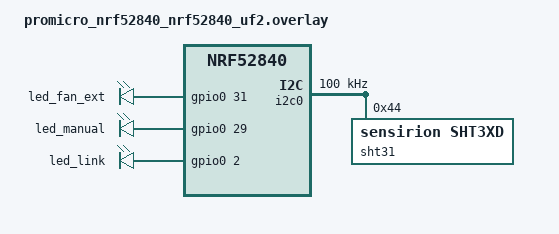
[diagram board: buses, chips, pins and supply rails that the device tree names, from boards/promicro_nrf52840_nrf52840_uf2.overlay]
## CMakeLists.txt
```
# SmartVent sensor node (nice!nano / nRF52840, nRF Connect SDK / Zephyr)
cmake_minimum_required(VERSION 3.20.0)

find_package(Zephyr REQUIRED HINTS $ENV{ZEPHYR_BASE})
project(smartvent_node)

target_sources(app PRIVATE
    src/main.c
    src/sensors.c
    src/control.c
    src/ble_service.c
    src/dfu_reboot.c
)
```

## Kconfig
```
menu "SmartVent node"

config APP_SIMULATED_SENSORS
	bool "Generate simulated sensor readings"
	default n
	help
	  Produce synthetic temperature / humidity / air-quality values instead of
	  reading the SHT31. Useful for bringing up BLE + cloud before
	  the sensors are wired.

config APP_SAMPLE_PERIOD_MS
	int "Sensor sampling / telemetry period (ms)"
	default 5000

config APP_DEFAULT_TEMP_ON_CENTI
	int "Default fan-on temperature threshold (0.01 degC)"
	default 2700

config APP_DEFAULT_HUM_ON_CENTI
	int "Default fan-on humidity threshold (0.01 %RH)"
	default 6000

config APP_DEFAULT_AQ_ON
	int "Default fan-on air-quality threshold (ADC millivolts from MQ-135)"
	default 1500

endmenu

source "Kconfig.zephyr"
```

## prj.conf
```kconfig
# --- Logging / console ---
CONFIG_LOG=y
CONFIG_PRINTK=y

# --- Hardware ---
CONFIG_GPIO=y
CONFIG_HWINFO=y
CONFIG_I2C=y
CONFIG_SENSOR=y
CONFIG_SHT3XD=y
CONFIG_REBOOT=y

# --- Bluetooth LE peripheral ---
CONFIG_BT=y
CONFIG_BT_PERIPHERAL=y
CONFIG_BT_DEVICE_NAME="SmartVent"
CONFIG_BT_DEVICE_NAME_DYNAMIC=y
CONFIG_BT_MAX_CONN=1
CONFIG_BT_GATT_DYNAMIC_DB=n

# Uncomment to bring up the pipeline without sensors wired:
# CONFIG_APP_SIMULATED_SENSORS=y
```

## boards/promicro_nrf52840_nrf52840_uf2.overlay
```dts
/*
 * Wiring for the nice!nano (Zephyr target promicro_nrf52840/nrf52840/uf2).
 * Pins are named by the P-numbers printed on the board.
 *
 *   SHT31 (temp + humidity), I2C0, address 0x44:
 *     SDA = 006 (P0.06)    SCL = 008 (P0.08)
 *     VIN = VCC (3.3 V)    GND = GND
 *
 *   External LEDs (anode -> resistor -> pin, cathode -> GND):
 *     031 (P0.31) fan = green    029 (P0.29) manual mode = yellow
 *     002 (P0.02) BLE link = red
 *
 * The on-board LED (led0, P0.15) also shows the fan state.
 * There is no gas sensor, so air quality is not measured.
 */

&pinctrl {
	i2c0_default: i2c0_default {
		group1 {
			psels = <NRF_PSEL(TWIM_SDA, 0, 6)>,
				<NRF_PSEL(TWIM_SCL, 0, 8)>;
			/* the breakout may lack pull-ups; use the chip's internal ones */
			bias-pull-up;
		};
	};

	i2c0_sleep: i2c0_sleep {
		group1 {
			psels = <NRF_PSEL(TWIM_SDA, 0, 6)>,
				<NRF_PSEL(TWIM_SCL, 0, 8)>;
			low-power-enable;
		};
	};
};

&i2c0 {
	status = "okay";
	clock-frequency = <I2C_BITRATE_STANDARD>;

	sht31: sht3xd@44 {
		compatible = "sensirion,sht3xd";
		reg = <0x44>;
	};
};

/ {
	ext_leds {
		compatible = "gpio-leds";

		led_fan_ext: led_fan_ext {
			gpios = <&gpio0 31 GPIO_ACTIVE_HIGH>;
		};
		led_manual: led_manual {
			gpios = <&gpio0 29 GPIO_ACTIVE_HIGH>;
		};
		led_link: led_link {
			gpios = <&gpio0 2 GPIO_ACTIVE_HIGH>;
		};
	};

	aliases {
		led1 = &led_manual;
		led2 = &led_link;
		fan-ext = &led_fan_ext;
	};
};
```

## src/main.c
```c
/*
 * SmartVent sensor node - main loop.
 *
 * Every CONFIG_APP_SAMPLE_PERIOD_MS the node reads its sensors, runs the
 * automatic ventilation rule, drives the LEDs and notifies the gateway with a
 * telemetry packet. When a command arrives over BLE the loop is woken early so
 * the gateway (and therefore the dashboard) sees the new reported state within
 * a second instead of waiting for the next period.
 *
 * LEDs: led0 (onboard) and the external fan LED show the fan output (stand-in
 * for a fan relay / motor driver). led1 (yellow) is ON in MANUAL mode and led2
 * (red) is ON while the gateway is connected. The external LEDs are wired in
 * the board overlay.
 */
#include <stdio.h>
#include <stdlib.h>
#include <zephyr/kernel.h>
#include <zephyr/drivers/gpio.h>
#include <zephyr/drivers/hwinfo.h>
#include <zephyr/sys/byteorder.h>
#include <zephyr/sys/reboot.h>
#include <zephyr/logging/log.h>

#include "ble_service.h"
#include "control.h"
#include "protocol.h"
#include "sensors.h"

LOG_MODULE_REGISTER(main, LOG_LEVEL_INF);

#define SENSOR_FAIL_REBOOT_COUNT 6

static const struct gpio_dt_spec led_fan = GPIO_DT_SPEC_GET(DT_ALIAS(led0), gpios);
#if DT_NODE_EXISTS(DT_ALIAS(fan_ext))
static const struct gpio_dt_spec led_fan_ext = GPIO_DT_SPEC_GET(DT_ALIAS(fan_ext), gpios);
#endif
#if DT_NODE_EXISTS(DT_ALIAS(led1))
static const struct gpio_dt_spec led_manual = GPIO_DT_SPEC_GET(DT_ALIAS(led1), gpios);
#endif
#if DT_NODE_EXISTS(DT_ALIAS(led2))
static const struct gpio_dt_spec led_link = GPIO_DT_SPEC_GET(DT_ALIAS(led2), gpios);
#endif

/* Given by the BLE command handler to cut the sleep short. */
static K_SEM_DEFINE(wake_sem, 0, 1);

static void on_command(void)
{
	k_sem_give(&wake_sem);
}

/* Build a unique device id from the chip's factory-programmed DEVICEID. */
static void make_device_id(char *buf, size_t len)
{
	uint8_t hw[8] = {0};
	ssize_t n = hwinfo_get_device_id(hw, sizeof(hw));

	if (n < 4) {
		snprintf(buf, len, "vent-unknown");
		return;
	}
	snprintf(buf, len, "vent-%02x%02x%02x%02x", hw[0], hw[1], hw[2], hw[3]);
}

static void pack_telemetry(uint8_t *pkt, const struct sensor_reading *r,
			   const struct control_state *s, uint32_t seq)
{
	pkt[0] = SV_PROTO_VERSION;
	pkt[1] = (uint8_t)s->mode;
	pkt[2] = s->fan_on ? 1 : 0;
	pkt[3] = (r->th_ok ? SV_FLAG_TH_OK : 0) | (r->aq_ok ? SV_FLAG_AQ_OK : 0);
	sys_put_le16((uint16_t)r->temp_centi, &pkt[4]);
	sys_put_le16(r->hum_centi, &pkt[6]);
	sys_put_le16(r->aq_mv, &pkt[8]);
	sys_put_le16((uint16_t)s->temp_on_centi, &pkt[10]);
	sys_put_le16(s->hum_on_centi, &pkt[12]);
	sys_put_le16(s->aq_on_mv, &pkt[14]);
	sys_put_le32(seq, &pkt[16]);
}

static void leds_init(void)
{
	gpio_pin_configure_dt(&led_fan, GPIO_OUTPUT_INACTIVE);
#if DT_NODE_EXISTS(DT_ALIAS(fan_ext))
	gpio_pin_configure_dt(&led_fan_ext, GPIO_OUTPUT_INACTIVE);
#endif
#if DT_NODE_EXISTS(DT_ALIAS(led1))
	gpio_pin_configure_dt(&led_manual, GPIO_OUTPUT_INACTIVE);
#endif
#if DT_NODE_EXISTS(DT_ALIAS(led2))
	gpio_pin_configure_dt(&led_link, GPIO_OUTPUT_INACTIVE);
#endif
}

int main(void)
{
	static char device_id[24];
	struct sensor_reading reading = {0};
	struct control_state st;
	uint8_t pkt[SV_TELEMETRY_LEN];
	uint32_t seq = 0;
	int read_failures = 0;

	make_device_id(device_id, sizeof(device_id));
	LOG_INF("SmartVent node starting, device id: %s", device_id);

	leds_init();
	sensors_init();
	control_init();
	if (ble_service_init(device_id, on_command) != 0) {
		return 0;
	}

	bool woke_by_command = false;

	while (1) {
		/* Only resample on the periodic tick; a command wake-up just reports
		 * the new state using the last reading. */
		if (!woke_by_command) {
			sensors_read(&reading);
		}
		control_update(&reading);
		control_get(&st);

		gpio_pin_set_dt(&led_fan, st.fan_on);
#if DT_NODE_EXISTS(DT_ALIAS(fan_ext))
		gpio_pin_set_dt(&led_fan_ext, st.fan_on);
#endif
#if DT_NODE_EXISTS(DT_ALIAS(led1))
		gpio_pin_set_dt(&led_manual, st.mode == SV_MODE_MANUAL);
#endif
#if DT_NODE_EXISTS(DT_ALIAS(led2))
		gpio_pin_set_dt(&led_link, ble_service_connected());
#endif

		pack_telemetry(pkt, &reading, &st, seq++);
		ble_service_send_telemetry(pkt, sizeof(pkt));

		if (reading.th_ok) {
			LOG_INF("T=%d.%02dC H=%u.%02u%% mode=%s fan=%s",
				reading.temp_centi / 100, abs(reading.temp_centi % 100),
				reading.hum_centi / 100, reading.hum_centi % 100,
				st.mode == SV_MODE_AUTO ? "auto" : "manual",
				st.fan_on ? "on" : "off");
		} else {
			LOG_WRN("SENSOR READ FAILED (check SHT31 wiring) mode=%s fan=%s",
				st.mode == SV_MODE_AUTO ? "auto" : "manual",
				st.fan_on ? "on" : "off");
		}

		/* A hung sensor or I2C bus does not recover on its own; restart the node
		 * after a run of failed reads (the gateway reconnects automatically). */
		if (!woke_by_command) {
			read_failures = reading.th_ok ? 0 : read_failures + 1;
			if (read_failures >= SENSOR_FAIL_REBOOT_COUNT) {
				LOG_ERR("Sensor unresponsive for %d reads, rebooting",
					read_failures);
				k_msleep(100);
				sys_reboot(SYS_REBOOT_COLD);
			}
		}

		woke_by_command =
			k_sem_take(&wake_sem, K_MSEC(CONFIG_APP_SAMPLE_PERIOD_MS)) == 0;
	}
	return 0;
}
```

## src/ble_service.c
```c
/*
 * SmartVent GATT service (BLE peripheral role).
 *
 * Characteristics:
 *   Device ID  (read)          ASCII id, e.g. "vent-1a2b3c4d"; the gateway reads
 *                              this on connect and uses it to route MQTT commands.
 *   Telemetry  (read, notify)  20-byte packet, see protocol.h
 *   Command    (write)         8-byte packet, see protocol.h
 *
 * Advertising carries the service UUID so the gateway can filter for SmartVent
 * nodes, and restarts automatically after a disconnect (BLE reconnection).
 */
#include "ble_service.h"
#include "control.h"
#include "protocol.h"

#include <string.h>
#include <zephyr/kernel.h>
#include <zephyr/bluetooth/bluetooth.h>
#include <zephyr/bluetooth/conn.h>
#include <zephyr/bluetooth/gatt.h>
#include <zephyr/bluetooth/uuid.h>
#include <zephyr/logging/log.h>

LOG_MODULE_REGISTER(ble_service, LOG_LEVEL_INF);

#define SV_UUID_BASE(n) BT_UUID_128_ENCODE(0x5f0a0000 | (n), 0x7c3e, 0x4b8a, 0x9f4e, 0x2d1c0b5a6e00)

static const struct bt_uuid_128 svc_uuid = BT_UUID_INIT_128(SV_UUID_BASE(1));
static const struct bt_uuid_128 id_uuid = BT_UUID_INIT_128(SV_UUID_BASE(2));
static const struct bt_uuid_128 tel_uuid = BT_UUID_INIT_128(SV_UUID_BASE(3));
static const struct bt_uuid_128 cmd_uuid = BT_UUID_INIT_128(SV_UUID_BASE(4));

static char dev_id[24];
static uint8_t tel_value[SV_TELEMETRY_LEN];
static bool notify_enabled;
static struct bt_conn *current_conn;
static ble_command_cb_t command_cb;

static struct k_work adv_work;

/* ---------- GATT callbacks ---------- */

static ssize_t read_id(struct bt_conn *conn, const struct bt_gatt_attr *attr, void *buf,
		       uint16_t len, uint16_t offset)
{
	return bt_gatt_attr_read(conn, attr, buf, len, offset, dev_id, strlen(dev_id));
}

static ssize_t read_tel(struct bt_conn *conn, const struct bt_gatt_attr *attr, void *buf,
			uint16_t len, uint16_t offset)
{
	return bt_gatt_attr_read(conn, attr, buf, len, offset, tel_value, sizeof(tel_value));
}

static void tel_ccc_changed(const struct bt_gatt_attr *attr, uint16_t value)
{
	notify_enabled = (value == BT_GATT_CCC_NOTIFY);
	LOG_INF("Telemetry notifications %s", notify_enabled ? "enabled" : "disabled");
}

static ssize_t write_cmd(struct bt_conn *conn, const struct bt_gatt_attr *attr, const void *buf,
			 uint16_t len, uint16_t offset, uint8_t flags)
{
	if (offset != 0) {
		return BT_GATT_ERR(BT_ATT_ERR_INVALID_OFFSET);
	}
	if (control_apply_command(buf, len) != 0) {
		LOG_WRN("Rejected command (len=%u)", len);
		return BT_GATT_ERR(BT_ATT_ERR_VALUE_NOT_ALLOWED);
	}
	if (command_cb) {
		command_cb();
	}
	return len;
}

BT_GATT_SERVICE_DEFINE(smartvent_svc,
	BT_GATT_PRIMARY_SERVICE(&svc_uuid),
	BT_GATT_CHARACTERISTIC(&id_uuid.uuid, BT_GATT_CHRC_READ, BT_GATT_PERM_READ,
			       read_id, NULL, NULL),
	BT_GATT_CHARACTERISTIC(&tel_uuid.uuid, BT_GATT_CHRC_READ | BT_GATT_CHRC_NOTIFY,
			       BT_GATT_PERM_READ, read_tel, NULL, NULL),
	BT_GATT_CCC(tel_ccc_changed, BT_GATT_PERM_READ | BT_GATT_PERM_WRITE),
	BT_GATT_CHARACTERISTIC(&cmd_uuid.uuid, BT_GATT_CHRC_WRITE | BT_GATT_CHRC_WRITE_WITHOUT_RESP,
			       BT_GATT_PERM_WRITE, NULL, write_cmd, NULL),
);

/* Index of the telemetry value attribute inside smartvent_svc.attrs:
 * [0] service, [1] id decl, [2] id value, [3] tel decl, [4] tel value, ... */
#define TEL_ATTR_IDX 4

/* ---------- Advertising ---------- */

static const struct bt_data ad[] = {
	BT_DATA_BYTES(BT_DATA_FLAGS, (BT_LE_AD_GENERAL | BT_LE_AD_NO_BREDR)),
	BT_DATA_BYTES(BT_DATA_UUID128_ALL, SV_UUID_BASE(1)),
};

static struct bt_data sd[1];

static void adv_work_handler(struct k_work *work)
{
	/* Connectable advertising does not resume by itself after a connection
	 * (Zephyr 4.x / NCS 3.x), so recycled() restarts it after each disconnect. */
	static const struct bt_le_adv_param param = BT_LE_ADV_PARAM_INIT(
		BT_LE_ADV_OPT_CONN,
		BT_GAP_ADV_FAST_INT_MIN_2, BT_GAP_ADV_FAST_INT_MAX_2, NULL);

	int err = bt_le_adv_start(&param, ad, ARRAY_SIZE(ad), sd, ARRAY_SIZE(sd));

	if (err && err != -EALREADY) {
		LOG_ERR("Advertising failed to start (%d)", err);
		return;
	}
	LOG_INF("Advertising as %s", dev_id);
}

/* ---------- Connection callbacks ---------- */

static void connected(struct bt_conn *conn, uint8_t err)
{
	if (err) {
		LOG_WRN("Connection failed (0x%02x)", err);
		return;
	}
	current_conn = bt_conn_ref(conn);
	LOG_INF("Gateway connected");
}

static void disconnected(struct bt_conn *conn, uint8_t reason)
{
	LOG_INF("Gateway disconnected (reason 0x%02x)", reason);
	notify_enabled = false;
	if (current_conn) {
		bt_conn_unref(current_conn);
		current_conn = NULL;
	}
}

/* Called once the connection object is freed; only now can advertising
 * restart when CONFIG_BT_MAX_CONN=1. */
static void recycled(void)
{
	k_work_submit(&adv_work);
}

BT_CONN_CB_DEFINE(conn_callbacks) = {
	.connected = connected,
	.disconnected = disconnected,
	.recycled = recycled,
};

/* ---------- Public API ---------- */

int ble_service_init(const char *device_id, ble_command_cb_t on_command)
{
	int err;

	strncpy(dev_id, device_id, sizeof(dev_id) - 1);
	command_cb = on_command;

	err = bt_enable(NULL);
	if (err) {
		LOG_ERR("bt_enable failed (%d)", err);
		return err;
	}

	/* Put the device id in the GAP name and scan response so it is visible
	 * in nRF Connect / the gateway scan log. */
	bt_set_name(dev_id);
	sd[0].type = BT_DATA_NAME_COMPLETE;
	sd[0].data_len = strlen(dev_id);
	sd[0].data = (const uint8_t *)dev_id;

	k_work_init(&adv_work, adv_work_handler);
	k_work_submit(&adv_work);
	return 0;
}

void ble_service_send_telemetry(const uint8_t *pkt, uint16_t len)
{
	memcpy(tel_value, pkt, MIN(len, sizeof(tel_value)));

	if (current_conn && notify_enabled) {
		int err = bt_gatt_notify(current_conn, &smartvent_svc.attrs[TEL_ATTR_IDX],
					 tel_value, sizeof(tel_value));
		if (err) {
			LOG_WRN("Notify failed (%d)", err);
		}
	}
}

bool ble_service_connected(void)
{
	return current_conn != NULL;
}
```

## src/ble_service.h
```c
#ifndef SMARTVENT_BLE_SERVICE_H
#define SMARTVENT_BLE_SERVICE_H

#include <stdbool.h>
#include <stdint.h>

/* Callback invoked (from the BT RX thread) when a valid command was applied,
 * so the main loop can push fresh telemetry immediately. */
typedef void (*ble_command_cb_t)(void);

int ble_service_init(const char *device_id, ble_command_cb_t on_command);

/* Update the telemetry characteristic value and notify the gateway if it has
 * subscribed. */
void ble_service_send_telemetry(const uint8_t *pkt, uint16_t len);

bool ble_service_connected(void);

#endif
```

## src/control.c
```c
/*
 * Ventilation control logic.
 *
 * AUTO mode: the fan turns ON when any reading exceeds its threshold
 * (temperature, humidity or air quality) and turns OFF only when every reading
 * has dropped below threshold minus a hysteresis band. The hysteresis keeps the
 * fan from chattering when a reading hovers around the threshold.
 *
 * MANUAL mode: the fan state is whatever the last command set it to; sensor
 * readings are still sampled and reported but do not drive the output.
 */
#include "control.h"

#include <errno.h>
#include <zephyr/kernel.h>
#include <zephyr/sys/byteorder.h>
#include <zephyr/logging/log.h>

LOG_MODULE_REGISTER(control, LOG_LEVEL_INF);

#define TEMP_HYST_CENTI 50  /* 0.5 degC */
#define HUM_HYST_CENTI  300 /* 3 %RH */
#define AQ_HYST_MV      100

static struct control_state state;
static struct k_mutex lock;

void control_init(void)
{
	k_mutex_init(&lock);
	state.mode = SV_MODE_AUTO;
	state.fan_on = false;
	state.temp_on_centi = CONFIG_APP_DEFAULT_TEMP_ON_CENTI;
	state.hum_on_centi = CONFIG_APP_DEFAULT_HUM_ON_CENTI;
	state.aq_on_mv = CONFIG_APP_DEFAULT_AQ_ON;
}

/* Decide the auto-mode fan state. Invalid sensors are ignored so a broken
 * sensor cannot force the fan on or off. */
static bool auto_decision(const struct sensor_reading *r, bool currently_on)
{
	bool any_above = false;
	bool all_below_off = true;

	if (r->th_ok) {
		if (r->temp_centi >= state.temp_on_centi || r->hum_centi >= state.hum_on_centi) {
			any_above = true;
		}
		if (r->temp_centi > state.temp_on_centi - TEMP_HYST_CENTI ||
		    r->hum_centi > state.hum_on_centi - HUM_HYST_CENTI) {
			all_below_off = false;
		}
	}
	if (r->aq_ok) {
		if (r->aq_mv >= state.aq_on_mv) {
			any_above = true;
		}
		if (r->aq_mv > state.aq_on_mv - AQ_HYST_MV) {
			all_below_off = false;
		}
	}

	if (any_above) {
		return true;
	}
	if (all_below_off) {
		return false;
	}
	return currently_on; /* inside the hysteresis band: keep current state */
}

bool control_update(const struct sensor_reading *r)
{
	bool changed = false;

	k_mutex_lock(&lock, K_FOREVER);
	if (state.mode == SV_MODE_AUTO) {
		bool next = auto_decision(r, state.fan_on);
		changed = next != state.fan_on;
		state.fan_on = next;
	}
	k_mutex_unlock(&lock);

	if (changed) {
		LOG_INF("Auto: fan %s", state.fan_on ? "ON" : "OFF");
	}
	return changed;
}

int control_apply_command(const uint8_t *buf, uint16_t len)
{
	if (len < SV_COMMAND_LEN) {
		return -EINVAL;
	}

	int16_t a0 = (int16_t)sys_get_le16(&buf[2]);
	int16_t a1 = (int16_t)sys_get_le16(&buf[4]);
	int16_t a2 = (int16_t)sys_get_le16(&buf[6]);
	int err = 0;

	k_mutex_lock(&lock, K_FOREVER);
	switch (buf[0]) {
	case SV_OP_SET_AUTO:
		/* The next control_update() call re-evaluates the rule, restoring
		 * sensor-based control. */
		state.mode = SV_MODE_AUTO;
		LOG_INF("Cmd: AUTO mode");
		break;
	case SV_OP_SET_MANUAL:
		state.mode = SV_MODE_MANUAL;
		LOG_INF("Cmd: MANUAL mode (fan stays %s)", state.fan_on ? "ON" : "OFF");
		break;
	case SV_OP_SET_FAN:
		state.mode = SV_MODE_MANUAL;
		state.fan_on = a0 != 0;
		LOG_INF("Cmd: MANUAL fan %s", state.fan_on ? "ON" : "OFF");
		break;
	case SV_OP_SET_THRESHOLDS:
		/* Range-check so a bad command can't produce nonsense thresholds. */
		if (a0 < -2000 || a0 > 8000 || a1 < 0 || a1 > 10000 || a2 < 0 || a2 > 3600) {
			err = -EINVAL;
			break;
		}
		state.temp_on_centi = a0;
		state.hum_on_centi = (uint16_t)a1;
		state.aq_on_mv = (uint16_t)a2;
		LOG_INF("Cmd: thresholds T=%d H=%d AQ=%d", a0, a1, a2);
		break;
	default:
		err = -EINVAL;
	}
	k_mutex_unlock(&lock);
	return err;
}

void control_get(struct control_state *out)
{
	k_mutex_lock(&lock, K_FOREVER);
	*out = state;
	k_mutex_unlock(&lock);
}
```

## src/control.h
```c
#ifndef SMARTVENT_CONTROL_H
#define SMARTVENT_CONTROL_H

#include <stdbool.h>
#include <stdint.h>
#include "protocol.h"
#include "sensors.h"

struct control_state {
	enum sv_mode mode;
	bool fan_on;
	int16_t temp_on_centi;
	uint16_t hum_on_centi;
	uint16_t aq_on_mv;
};

void control_init(void);

/* Run the automatic rule against a new reading (no-op in manual mode).
 * Returns true if the fan state changed. */
bool control_update(const struct sensor_reading *r);

/* Apply a command packet received over BLE. Returns 0 on success, -EINVAL for
 * a malformed / unknown command. */
int control_apply_command(const uint8_t *buf, uint16_t len);

/* Snapshot of the current state (thread-safe copy). */
void control_get(struct control_state *out);

#endif
```

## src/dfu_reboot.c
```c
/*
 * Development convenience: any byte received on the USB console reboots the
 * board into the Adafruit UF2 bootloader, so new firmware can be flashed
 * without shorting RST to GND twice.
 */
#include <zephyr/kernel.h>
#include <zephyr/drivers/uart.h>
#include <zephyr/sys/reboot.h>
#include <nrfx.h>

#if DT_HAS_CHOSEN(zephyr_console) && defined(CONFIG_REBOOT)

#define BOOTLOADER_MAGIC_UF2 0x57 /* GPREGRET value the Adafruit bootloader checks */

static void dfu_reboot_thread(void *a, void *b, void *c)
{
	const struct device *u = DEVICE_DT_GET(DT_CHOSEN(zephyr_console));
	unsigned char ch;

	while (1) {
		if (device_is_ready(u) && uart_poll_in(u, &ch) == 0) {
			NRF_POWER->GPREGRET = BOOTLOADER_MAGIC_UF2;
			sys_reboot(SYS_REBOOT_COLD);
		}
		k_msleep(100);
	}
}

K_THREAD_DEFINE(dfu_reboot, 768, dfu_reboot_thread, NULL, NULL, NULL, 14, 0, 0);

#endif
```

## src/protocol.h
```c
/*
 * BLE wire protocol shared by the node and the gateway.
 * Keep this file byte-for-byte in sync with firmware/gateway/src/protocol.h.
 *
 * All multi-byte fields are little-endian. Payloads are kept <= 20 bytes so
 * they fit in a single notification at the default ATT MTU (23).
 */
#ifndef SMARTVENT_PROTOCOL_H
#define SMARTVENT_PROTOCOL_H

/* 128-bit UUIDs (base 5f0a0000-7c3e-4b8a-9f4e-2d1c0b5a6e00) */
#define SV_UUID_SERVICE_STR   "5f0a0001-7c3e-4b8a-9f4e-2d1c0b5a6e00"
#define SV_UUID_DEVICE_ID_STR "5f0a0002-7c3e-4b8a-9f4e-2d1c0b5a6e00" /* read: ASCII id */
#define SV_UUID_TELEMETRY_STR "5f0a0003-7c3e-4b8a-9f4e-2d1c0b5a6e00" /* read + notify */
#define SV_UUID_COMMAND_STR   "5f0a0004-7c3e-4b8a-9f4e-2d1c0b5a6e00" /* write */

#define SV_PROTO_VERSION 1

/* Telemetry packet layout (20 bytes):
 *  [0]     version
 *  [1]     mode        0 = auto, 1 = manual
 *  [2]     fan         0 = off,  1 = on
 *  [3]     flags       bit0 = temp/hum sensor ok, bit1 = air-quality sensor ok
 *  [4..5]  temperature int16, 0.01 degC
 *  [6..7]  humidity    uint16, 0.01 %RH
 *  [8..9]  air quality uint16, millivolts at the MQ-135 pin
 *  [10..11] temp_on    int16, 0.01 degC   (current auto threshold)
 *  [12..13] hum_on     uint16, 0.01 %RH
 *  [14..15] aq_on      uint16, millivolts
 *  [16..19] seq        uint32, increments every packet
 */
#define SV_TELEMETRY_LEN 20

#define SV_FLAG_TH_OK (1u << 0)
#define SV_FLAG_AQ_OK (1u << 1)

enum sv_mode { SV_MODE_AUTO = 0, SV_MODE_MANUAL = 1 };

/* Command packet layout (8 bytes):
 *  [0]     opcode (enum sv_opcode)
 *  [1]     reserved
 *  [2..3]  arg0 int16
 *  [4..5]  arg1 int16
 *  [6..7]  arg2 int16
 */
#define SV_COMMAND_LEN 8

enum sv_opcode {
	SV_OP_SET_AUTO = 0x01,       /* return to sensor-based control */
	SV_OP_SET_FAN = 0x02,        /* arg0: 0/1. Switches to manual mode. */
	SV_OP_SET_THRESHOLDS = 0x03, /* arg0: temp_on (0.01C), arg1: hum_on (0.01%), arg2: aq_on (mV) */
	SV_OP_SET_MANUAL = 0x04,     /* freeze current fan state, manual mode */
};

#endif /* SMARTVENT_PROTOCOL_H */
```

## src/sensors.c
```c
/*
 * Sensor acquisition: a Sensirion SHT31 (temperature + humidity) on I2C.
 * There is no gas sensor on these nodes, so air quality is always reported
 * invalid (aq_ok = false) and the control rule ignores it.
 *
 * With CONFIG_APP_SIMULATED_SENSORS the values are synthesized so the rest of
 * the system can be tested without wiring.
 */
#include "sensors.h"

#include <zephyr/kernel.h>
#include <zephyr/device.h>
#include <zephyr/drivers/sensor.h>
#include <zephyr/logging/log.h>
#include <zephyr/random/random.h>

LOG_MODULE_REGISTER(sensors, LOG_LEVEL_INF);

#if !defined(CONFIG_APP_SIMULATED_SENSORS)

static const struct device *const sht = DEVICE_DT_GET_ANY(sensirion_sht3xd);

int sensors_init(void)
{
	if (sht == NULL || !device_is_ready(sht)) {
		LOG_WRN("SHT31 not ready; temperature/humidity will be reported invalid");
	}
	return 0;
}

void sensors_read(struct sensor_reading *out)
{
	struct sensor_value t, h;

	out->aq_ok = false;
	out->aq_mv = 0;
	out->th_ok = false;

	if (sht == NULL || !device_is_ready(sht) || sensor_sample_fetch(sht) != 0) {
		return;
	}
	sensor_channel_get(sht, SENSOR_CHAN_AMBIENT_TEMP, &t);
	sensor_channel_get(sht, SENSOR_CHAN_HUMIDITY, &h);

	/* sensor_value is val1 + val2 * 1e-6; convert to hundredths. */
	out->temp_centi = (int16_t)(t.val1 * 100 + t.val2 / 10000);
	out->hum_centi = (uint16_t)(h.val1 * 100 + h.val2 / 10000);
	out->th_ok = true;
}

#else /* CONFIG_APP_SIMULATED_SENSORS */

int sensors_init(void)
{
	LOG_WRN("Using SIMULATED sensors");
	return 0;
}

/* Slow drift around a baseline plus a little noise, so the auto rule toggles
 * now and then and the dashboard shows changing data. */
void sensors_read(struct sensor_reading *out)
{
	static int32_t phase;

	phase = (phase + 1) % 120;
	int32_t tri = phase < 60 ? phase : 120 - phase; /* 0..60..0 */

	out->temp_centi = (int16_t)(2400 + tri * 8 + (int32_t)(sys_rand32_get() % 40) - 20);
	out->hum_centi = (uint16_t)(4500 + tri * 20 + (sys_rand32_get() % 100));
	out->aq_mv = 0;
	out->th_ok = true;
	out->aq_ok = false;
}

#endif
```

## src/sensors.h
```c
#ifndef SMARTVENT_SENSORS_H
#define SMARTVENT_SENSORS_H

#include <stdbool.h>
#include <stdint.h>

struct sensor_reading {
	int16_t temp_centi;   /* 0.01 degC */
	uint16_t hum_centi;   /* 0.01 %RH */
	uint16_t aq_mv;       /* MQ-135 output, millivolts */
	bool th_ok;           /* temperature/humidity valid */
	bool aq_ok;           /* air quality valid */
};

/* Prepare the BME280 and ADC. Returns 0 even if a sensor is missing; missing
 * sensors are reported through the *_ok flags of each reading. */
int sensors_init(void);

/* Take one sample of every sensor. */
void sensors_read(struct sensor_reading *out);

#endif
```
